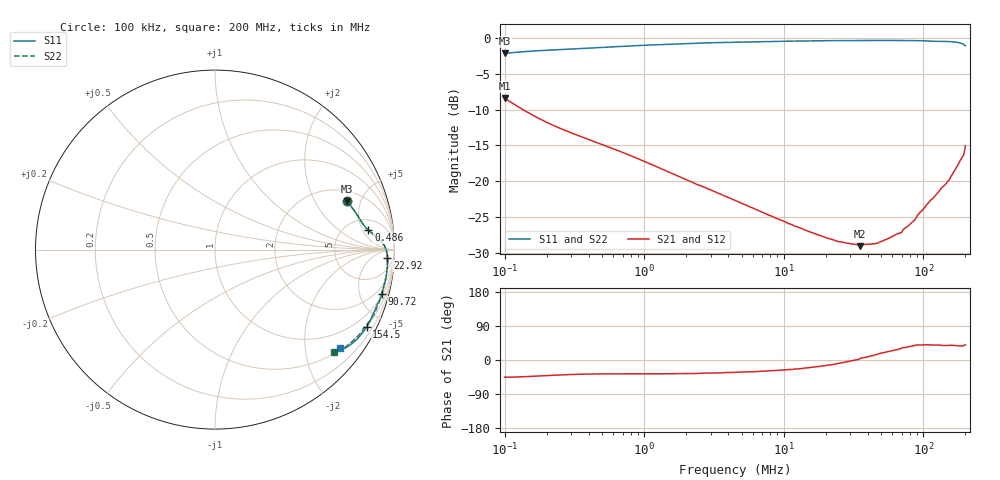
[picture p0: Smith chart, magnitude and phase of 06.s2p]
#  HZ  S  RI  R  50.00
! Rohde & Schwarz Vector Network Analyzer
! Rohde-Schwarz,ZNLE6-2Port,1323001256200024,1.71.1.10-23.02.1.238
! Created: UTC 4/7/2025, 9:35:04 AM
! freq[Hz]  re:S11  im:S11  re:S21  im:S21  re:S12  im:S12  re:S22  im:S22
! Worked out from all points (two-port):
!   1001 points, 100 kHz to 200 MHz, reference 50 ohm
!   highest |S21| = -8.38 dB at 100 kHz (marker M1); lowest = -29.1 dB at 35.08 MHz (marker M2)
!   |S21| within 3 dB of the highest: start of sweep to 182.7 kHz
!   lowest |S11| = -2.1 dB at 100 kHz (marker M3), VSWR 8.21, Z = 135 + j188 ohm
!   |S11| at or under -10 dB: nowhere
!   |S22| runs from -2.1 to -0.3 dB; largest |S21 - S12| = 0.0074
!   S11 on the Smith chart (normalised r, x): 100 kHz: 2.70, +3.77; 486 kHz: 8, +7; 22.92 MHz: 20, -25; 90.72 MHz: 1.15, -7.53; 154.5 MHz: 0.47, -4.09; 200 MHz: 0.54, -2.78
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100000  0.7347 0.2701  0.2675 -0.2717  0.2683 -0.2719  0.7341 0.2704
135531.8  0.7747 0.2188  0.227 -0.2208  0.2276 -0.2209  0.7743 0.2195
186502.4  0.8022 0.1768  0.1993 -0.178  0.1998 -0.1783  0.8019 0.177
355854.1  0.8389 0.123  0.1623 -0.1244  0.1627 -0.1246  0.8387 0.1232
485975.3  0.8546 0.1073  0.1466 -0.1089  0.147 -0.1092  0.8545 0.1073
1266322  0.9002 0.0705  0.1003 -0.0742  0.1004 -0.0744  0.9001 0.0704
4472136  0.9389 0.0282  0.062 -0.0396  0.0609 -0.0403  0.94 0.0294
1.591428e7  0.9586 -0.0233  0.0413 -0.0146  0.041 -0.015  0.9591 -0.0255
2.292115e7  0.9609 -0.0469  0.038 -0.00766  0.0379 -0.0078  0.961 -0.0506
3.508279e7  0.9601 -0.0852  0.0351 0.00204  0.035 0.000948  0.96 -0.0888
4.612445e7  0.9577 -0.1177  0.0356 0.00913  0.0355 0.00847  0.9573 -0.1235
5.663162e7  0.9538 -0.1486  0.0368 0.0155  0.0371 0.0143  0.9525 -0.1553
6.900583e7  0.946 -0.1844  0.0377 0.0219  0.0383 0.0206  0.9432 -0.1938
8.344716e7  0.9358 -0.2256  0.0415 0.0312  0.0425 0.0297  0.9308 -0.2384
9.072414e7  0.9298 -0.2455  0.0443 0.0368  0.0457 0.0354  0.9247 -0.2596
1.22029e8  0.8926 -0.3318  0.0615 0.0505  0.0629 0.0491  0.888 -0.3551
1.388611e8  0.8712 -0.3811  0.0724 0.0569  0.0723 0.0549  0.8582 -0.4026
1.544525e8  0.8443 -0.4325  0.0809 0.065  0.0814 0.0624  0.8256 -0.4417
1.641358e8  0.8232 -0.4608  0.0897 0.0721  0.0919 0.0679  0.8025 -0.4763
1.757569e8  0.7923 -0.4983  0.1022 0.0785  0.1049 0.0737  0.7635 -0.5144
1.882009e8  0.7488 -0.5348  0.1161 0.0866  0.1197 0.0818  0.7127 -0.5527
2e8  0.6951 -0.5508  0.1356 0.1125  0.1402 0.107  0.664 -0.5703
